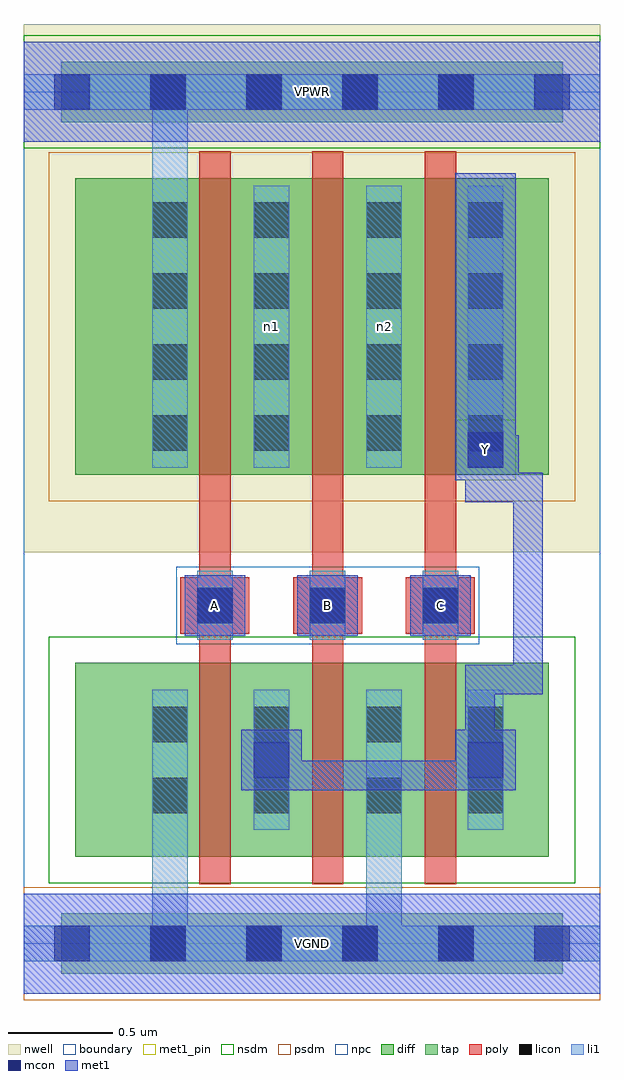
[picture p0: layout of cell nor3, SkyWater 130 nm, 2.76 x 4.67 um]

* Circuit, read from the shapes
.subckt nor3 A B C VGND VPWR Y n1 n2
XM1 Y A VGND VGND sky130_fd_pr__nfet_01v8 w=0.93 l=0.15
XM2 VGND B Y VGND sky130_fd_pr__nfet_01v8 w=0.93 l=0.15
XM3 Y C VGND VGND sky130_fd_pr__nfet_01v8 w=0.93 l=0.15
XM4 n1 A VPWR VPWR sky130_fd_pr__pfet_01v8 w=1.42 l=0.15
XM5 n2 B n1 VPWR sky130_fd_pr__pfet_01v8 w=1.42 l=0.15
XM6 Y C n2 VPWR sky130_fd_pr__pfet_01v8 w=1.42 l=0.15
.ends

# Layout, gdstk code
import gdstk
lib = gdstk.Library(unit=1e-6, precision=1e-09)
def R(c, l, rs):  # rectangles x0, y0, x1, y1
    for r in rs: c.add(gdstk.rectangle(r[:2], r[2:], *l))
def A(c, l, x, y, w, h, nx, ny, dx, dy):  # array of equal rectangles
    R(c, l, [(x+i*dx, y+j*dy, x+i*dx+w, y+j*dy+h) for i in range(nx) for j in range(ny)])
nwell = (64, 20)
diff = (65, 20)
tap = (65, 44)
poly = (66, 20)
licon = (66, 44)
li1 = (67, 20)
mcon = (67, 44)
met1_pin = (68, 16)
met1 = (68, 20)
nsdm = (93, 44)
psdm = (94, 20)
npc = (95, 20)
boundary = (235, 4)

nor3 = lib.new_cell('nor3')
R(nor3, nwell, [(0,1.875,2.76,4.405)])
R(nor3, diff, [(0.245,0.415,2.515,1.345), (0.245,2.245,2.515,3.665)])
R(nor3, tap, [(0.18,-0.145,2.58,0.145), (0.18,3.935,2.58,4.225)])
A(nor3, poly, 0.84, 0.285, 0.15, 3.51, 3, 1, 0.54, 0)
A(nor3, poly, 0.75, 1.485, 0.33, 0.27, 3, 1, 0.54, 0)
A(nor3, licon, 0.605, -0.085, 0.17, 0.17, 4, 2, 0.46, 4.08)
A(nor3, licon, 0.83, 1.535, 0.17, 0.17, 3, 1, 0.54, 0)
A(nor3, licon, 0.615, 2.36, 0.17, 0.17, 1, 4, 0, 0.34)
A(nor3, licon, 1.1, 2.36, 0.17, 0.17, 1, 4, 0, 0.34)
A(nor3, licon, 1.64, 2.36, 0.17, 0.17, 1, 4, 0, 0.34)
A(nor3, licon, 2.125, 2.36, 0.17, 0.17, 1, 4, 0, 0.34)
R(nor3, licon, [(0.615,0.625,0.785,0.795), (1.1,0.625,1.27,0.795), (1.64,0.625,1.81,0.795), (2.125,0.625,2.295,0.795), (0.615,0.965,0.785,1.135), (1.1,0.965,1.27,1.135), (1.64,0.965,1.81,1.135), (2.125,0.965,2.295,1.135)])
A(nor3, li1, 0.83, 1.455, 0.17, 0.33, 3, 1, 0.54, 0)
R(nor3, li1, [(0,-0.085,2.76,0.085), (0.615,-0.085,0.785,1.215), (1.64,-0.085,1.81,1.215), (0.615,0.545,0.785,1.215), (1.1,0.545,1.27,1.215), (1.64,0.545,1.81,1.215), (2.125,0.545,2.295,1.215), (0.615,2.28,0.785,3.63), (0.615,2.28,0.785,4.165), (1.1,2.28,1.27,3.63), (1.64,2.28,1.81,3.63), (2.125,2.28,2.295,3.63), (0,3.995,2.76,4.165)])
A(nor3, mcon, 0.145, -0.085, 0.17, 0.17, 6, 2, 0.46, 4.08)
A(nor3, mcon, 0.83, 1.535, 0.17, 0.17, 3, 1, 0.54, 0)
R(nor3, mcon, [(1.1,0.795,1.27,0.965), (2.125,0.795,2.295,0.965), (2.125,2.28,2.295,2.45)])
A(nor3, met1_pin, 0.77, 1.475, 0.29, 0.29, 3, 1, 0.54, 0)
R(nor3, met1_pin, [(0,-0.24,2.76,0.24), (2.065,2.22,2.355,2.51), (0,3.84,2.76,4.32)])
A(nor3, met1, 0.77, 1.475, 0.29, 0.29, 3, 1, 0.54, 0)
R(nor3, met1, [(0,-0.24,2.76,0.24), (1.04,0.735,1.33,1.025), (1.08,0.735,1.22,0.875), (1.08,0.735,2.255,0.875), (2.065,0.735,2.355,1.025), (2.115,0.735,2.255,0.875), (2.115,0.735,2.255,1.335), (2.115,1.195,2.485,1.335), (2.345,1.195,2.485,2.255), (2.115,2.115,2.37,2.255), (2.115,2.115,2.255,2.37), (2.23,2.115,2.37,2.435), (2.23,2.115,2.485,2.255), (2.065,2.22,2.355,2.51), (2.065,2.22,2.355,3.69), (2.115,2.23,2.255,2.37), (2.14,2.255,2.37,2.295), (2.14,2.295,2.37,2.435), (0,3.84,2.76,4.32)])
R(nor3, nsdm, [(0.12,0.29,2.64,1.47), (0,3.81,2.76,4.35)])
R(nor3, psdm, [(0,-0.27,2.76,0.27), (0.12,2.12,2.64,3.79)])
R(nor3, npc, [(0.73,1.435,2.18,1.805)])
R(nor3, boundary, [(0,0,2.76,4.08)])
nor3.add(gdstk.Label('n1', (1.185,2.955), layer=67, texttype=5))
nor3.add(gdstk.Label('n2', (1.725,2.955), layer=67, texttype=5))
nor3.add(gdstk.Label('A', (0.915,1.62), layer=68, texttype=5))
nor3.add(gdstk.Label('B', (1.455,1.62), layer=68, texttype=5))
nor3.add(gdstk.Label('C', (1.995,1.62), layer=68, texttype=5))
nor3.add(gdstk.Label('Y', (2.21,2.365), layer=68, texttype=5))
nor3.add(gdstk.Label('VPWR', (1.38,4.08), layer=68, texttype=5))
nor3.add(gdstk.Label('VGND', (1.38,0), layer=68, texttype=5))
nor3.add(gdstk.Label('A', (0.915,1.62), layer=68, texttype=16))
nor3.add(gdstk.Label('B', (1.455,1.62), layer=68, texttype=16))
nor3.add(gdstk.Label('C', (1.995,1.62), layer=68, texttype=16))
nor3.add(gdstk.Label('Y', (2.21,2.365), layer=68, texttype=16))
nor3.add(gdstk.Label('VPWR', (1.38,4.08), layer=68, texttype=16))
nor3.add(gdstk.Label('VGND', (1.38,0), layer=68, texttype=16))

lib.write_gds('nor3.gds')
